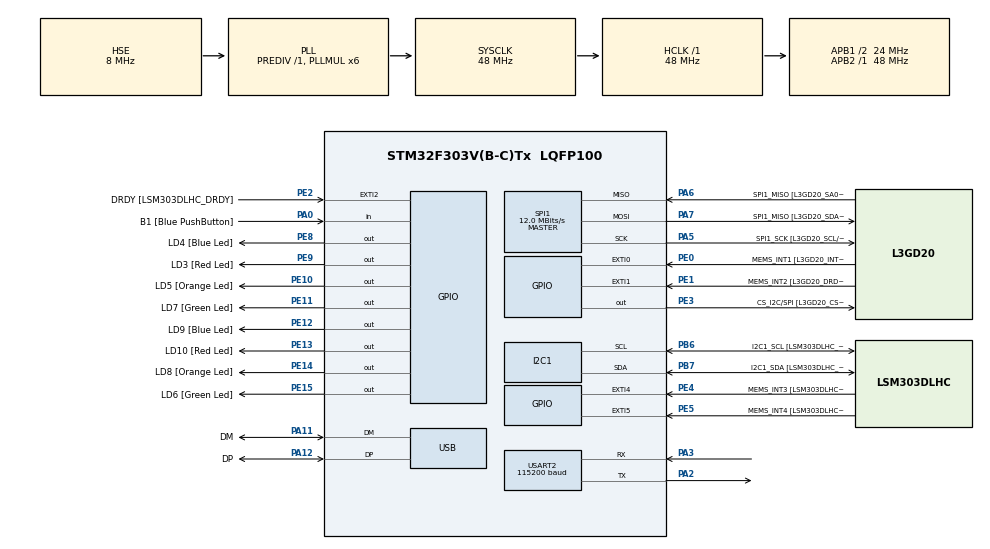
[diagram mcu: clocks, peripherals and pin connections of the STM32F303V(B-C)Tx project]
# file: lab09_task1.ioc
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I2C1.Timing=0x00201D2B
I2C1.Timing-I2C=0x2000090E
Mcu.Family=STM32F3
Mcu.Name=STM32F303V(B-C)Tx
Mcu.Package=LQFP100
NVIC.PriorityGroup=NVIC_PRIORITYGROUP_0
PA0.GPIO_Label=B1 [Blue PushButton]
PA0.Signal=GPIO_Input
PA11.GPIO_Label=DM
PA11.Mode=Device
PA11.Signal=USB_DM
PA12.GPIO_Label=DP
PA12.Mode=Device
PA12.Signal=USB_DP
PA13.GPIO_Label=SWDIO
PA13.Mode=Serial_Wire
PA13.Signal=SYS_JTMS-SWDIO
PA14.GPIO_Label=SWCLK
PA14.Mode=Serial_Wire
PA14.Signal=SYS_JTCK-SWCLK
PA2.Mode=Asynchronous
PA2.Signal=USART2_TX
PA3.Mode=Asynchronous
PA3.Signal=USART2_RX
PA5.GPIO_Label=SPI1_SCK [L3GD20_SCL/SPC]
PA5.Mode=Full_Duplex_Master
PA5.Signal=SPI1_SCK
PA6.GPIO_Label=SPI1_MISO [L3GD20_SA0/SDO]
PA6.Mode=Full_Duplex_Master
PA6.Signal=SPI1_MISO
PA7.GPIO_Label=SPI1_MISO [L3GD20_SDA/SDI/SDO]
PA7.Mode=Full_Duplex_Master
PA7.Signal=SPI1_MOSI
PB3.GPIO_Label=SWO
PB3.Signal=SYS_JTDO-TRACESWO
PB6.GPIO_Label=I2C1_SCL [LSM303DLHC_SCL]
PB6.GPIO_Pu=GPIO_PULLUP
PB6.Mode=I2C
PB6.Signal=I2C1_SCL
PB7.GPIO_Label=I2C1_SDA [LSM303DLHC_SDA]
PB7.GPIO_Pu=GPIO_PULLUP
PB7.Mode=I2C
PB7.Signal=I2C1_SDA
PC14-OSC32_IN.GPIO_Label=OSC32_IN
PC14-OSC32_IN.Signal=RCC_OSC32_IN
PC15-OSC32_OUT.GPIO_Label=OSC32_OUT
PC15-OSC32_OUT.Signal=RCC_OSC32_OUT
PE0.GPIO_Label=MEMS_INT1 [L3GD20_INT1]
PE0.GPIO_ModeDefaultEXTI=GPIO_MODE_EVT_RISING
PE0.Signal=GPXTI0
PE1.GPIO_Label=MEMS_INT2 [L3GD20_DRDY/INT2]
PE1.GPIO_ModeDefaultEXTI=GPIO_MODE_EVT_RISING
PE1.Signal=GPXTI1
PE10.GPIO_Label=LD5 [Orange Led]
PE10.Signal=GPIO_Output
PE11.GPIO_Label=LD7 [Green Led]
PE11.Signal=GPIO_Output
PE12.GPIO_Label=LD9 [Blue Led]
PE12.Signal=GPIO_Output
PE13.GPIO_Label=LD10 [Red Led]
PE13.Signal=GPIO_Output
PE14.GPIO_Label=LD8 [Orange Led]
PE14.Signal=GPIO_Output
PE15.GPIO_Label=LD6 [Green Led]
PE15.Signal=GPIO_Output
PE2.GPIO_Label=DRDY [LSM303DLHC_DRDY]
PE2.GPIO_ModeDefaultEXTI=GPIO_MODE_EVT_RISING
PE2.Signal=GPXTI2
PE3.GPIO_Label=CS_I2C/SPI [L3GD20_CS_I2C/SPI]
PE3.Signal=GPIO_Output
PE4.GPIO_Label=MEMS_INT3 [LSM303DLHC_INT1]
PE4.GPIO_ModeDefaultEXTI=GPIO_MODE_EVT_RISING
PE4.Signal=GPXTI4
PE5.GPIO_Label=MEMS_INT4 [LSM303DLHC_INT2]
PE5.GPIO_ModeDefaultEXTI=GPIO_MODE_EVT_RISING
PE5.Signal=GPXTI5
PE8.GPIO_Label=LD4 [Blue Led]
PE8.Signal=GPIO_Output
PE9.GPIO_Label=LD3 [Red Led]
PE9.Signal=GPIO_Output
PF0-OSC_IN.GPIO_Label=OSC_IN
PF0-OSC_IN.Mode=HSE-External-Clock-Source
PF0-OSC_IN.Signal=RCC_OSC_IN
PF1-OSC_OUT.GPIO_Label=OSC_OUT
PF1-OSC_OUT.Signal=RCC_OSC_OUT
ProjectManager.HeapSize=0x200
ProjectManager.StackSize=0x400
ProjectManager.TargetToolchain=CMake
RCC.AHBFreq_Value=48000000
RCC.APB1CLKDivider=RCC_HCLK_DIV2
RCC.APB1Freq_Value=24000000
RCC.APB1TimFreq_Value=48000000
RCC.APB2Freq_Value=48000000
RCC.APB2TimFreq_Value=48000000
RCC.CortexFreq_Value=48000000
RCC.HCLKFreq_Value=48000000
RCC.HSE_VALUE=8000000
RCC.HSI_VALUE=8000000
RCC.LSE_VALUE=32768
RCC.PLLMUL=RCC_PLL_MUL6
RCC.SYSCLKFreq_VALUE=48000000
RCC.SYSCLKSourceVirtual=RCC_SYSCLKSOURCE_PLLCLK
RCC.USBFreq_Value=48000000
SPI1.BaudRatePrescaler=SPI_BAUDRATEPRESCALER_4
SPI1.BaudRatePrescaler-Full_Duplex_Master=SPI_BAUDRATEPRESCALER_2
SPI1.CalculateBaudRate=12.0 MBits/s
SPI1.CalculateBaudRate-Full_Duplex_Master=24.0 MBits/s
SPI1.Direction=SPI_DIRECTION_2LINES
SPI1.Mode=SPI_MODE_MASTER
SPI1.Mode-Full_Duplex_Master=SPI_MODE_MASTER
SPI1.VirtualType=VM_MASTER
USART2.BaudRate=115200
USART2.VirtualMode-Asynchronous=VM_ASYNC
board=STM32F3DISCOVERY

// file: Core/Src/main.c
/* USER CODE BEGIN Header */
/**
  ******************************************************************************
  * @file           : main.c
  * @brief          : Main program body
  ******************************************************************************
  * @attention
  *
  * Copyright (c) 2026 STMicroelectronics.
  * All rights reserved.
  *
  * This software is licensed under terms that can be found in the LICENSE file
  * in the root directory of this software component.
  * If no LICENSE file comes with this software, it is provided AS-IS.
  *
  ******************************************************************************
  */
/* USER CODE END Header */
#include "main.h"

/* USER CODE BEGIN Includes */
#include <stdio.h>
#include <stdarg.h>
#include <string.h>
/* USER CODE END Includes */

/* USER CODE BEGIN PD */
/* LSM303AGR accelerometer: 7-bit address 0x19 -> 0x32 (write) / 0x33 (read) */
#define LSM_ACC_ADDR    0x33
#define WHO_AM_I_A      0x0F    // accelerometer ID register
#define ACC_ID          0x33    // expected value

/* LSM303AGR magnetometer: 7-bit address 0x1E -> 0x3C (write) / 0x3D (read) */
#define LSM_MAG_ADDR    0x3D
#define WHO_AM_I_M      0x4F    // magnetometer ID register
#define MAG_ID          0x40    // expected value

#define I2C_TIMEOUT_MS  100     // give up instead of hanging forever
/* USER CODE END PD */

I2C_HandleTypeDef hi2c1;

SPI_HandleTypeDef hspi1;

UART_HandleTypeDef huart2;

PCD_HandleTypeDef hpcd_USB_FS;

void SystemClock_Config(void);
static void MX_GPIO_Init(void);
static void MX_I2C1_Init(void);
static void MX_SPI1_Init(void);
static void MX_USART2_UART_Init(void);
static void MX_USB_PCD_Init(void);

/* USER CODE BEGIN 0 */

/* ---------------- UART print ---------------- */
void myPrintf(const char *fmt, ...)
{
    char buffer[100];
    va_list args;
    va_start(args, fmt);
    vsnprintf(buffer, sizeof(buffer), fmt, args);
    va_end(args);
    HAL_UART_Transmit(&huart2, (uint8_t *)buffer, strlen(buffer), HAL_MAX_DELAY);
}

/* ---------------- Read one register over I2C1 ---------------- */
HAL_StatusTypeDef i2c_read_reg(uint16_t dev_addr, uint8_t reg, uint8_t *value)
{
    /* START, address+W, reg, REPEATED START, address+R, read 1 byte, STOP */
    return HAL_I2C_Mem_Read(&hi2c1, dev_addr, reg, I2C_MEMADD_SIZE_8BIT,
                            value, 1, I2C_TIMEOUT_MS);
}

/* ---------------- List every device that ACKs on I2C1 ---------------- */
void i2c_scan(void)
{
    myPrintf("Scanning I2C1...\r\n");
    for (uint16_t addr = 1; addr < 128; addr++)
    {
        if (HAL_I2C_IsDeviceReady(&hi2c1, addr << 1, 2, 10) == HAL_OK)
        {
            myPrintf("  device at 0x%02X\r\n", addr);
        }
    }
    myPrintf("Scan done\r\n\r\n");
}

/* ---------------- Read an ID register and compare ---------------- */
void check_id(const char *name, uint16_t dev_addr, uint8_t reg, uint8_t expected)
{
    uint8_t id = 0;

    if (i2c_read_reg(dev_addr, reg, &id) != HAL_OK)
    {
        myPrintf("%s: no response (no ACK)\r\n", name);
        return;
    }

    myPrintf("%s WHO_AM_I = 0x%02X -> %s\r\n",
             name, id, (id == expected) ? "OK" : "MISMATCH");
}

/* USER CODE END 0 */

int main(void)
{

  /* MCU Configuration--------------------------------------------------------*/

  /* Reset of all peripherals, Initializes the Flash interface and the Systick. */
  HAL_Init();

  /* Configure the system clock */
  SystemClock_Config();

  /* Initialize all configured peripherals */
  MX_GPIO_Init();
  MX_I2C1_Init();
  MX_SPI1_Init();
  MX_USART2_UART_Init();
  MX_USB_PCD_Init();
  /* USER CODE BEGIN 2 */
  HAL_Delay(10);                                  // let the sensor finish booting
  myPrintf("\r\nLab 9 Task 1: LSM303AGR WHO_AM_I check\r\n");
  i2c_scan();                                     // expect 0x19 and 0x1E
  /* USER CODE END 2 */

  /* Infinite loop */
  while (1)
  {

    /* USER CODE BEGIN 3 */
    check_id("LSM303AGR accel", LSM_ACC_ADDR, WHO_AM_I_A, ACC_ID);
    //check_id("LSM303AGR mag  ", LSM_MAG_ADDR, WHO_AM_I_M, MAG_ID);
    myPrintf("\r\n");
    HAL_Delay(1000);                              // one check per second
  }
  /* USER CODE END 3 */
}

void SystemClock_Config(void)
{
  RCC_OscInitTypeDef RCC_OscInitStruct = {0};
  RCC_ClkInitTypeDef RCC_ClkInitStruct = {0};
  RCC_PeriphCLKInitTypeDef PeriphClkInit = {0};

  /** Initializes the RCC Oscillators according to the specified parameters
  * in the RCC_OscInitTypeDef structure.
  */
  RCC_OscInitStruct.OscillatorType = RCC_OSCILLATORTYPE_HSI|RCC_OSCILLATORTYPE_HSE;
  RCC_OscInitStruct.HSEState = RCC_HSE_BYPASS;
  RCC_OscInitStruct.HSEPredivValue = RCC_HSE_PREDIV_DIV1;
  RCC_OscInitStruct.HSIState = RCC_HSI_ON;
  RCC_OscInitStruct.HSICalibrationValue = RCC_HSICALIBRATION_DEFAULT;
  RCC_OscInitStruct.PLL.PLLState = RCC_PLL_ON;
  RCC_OscInitStruct.PLL.PLLSource = RCC_PLLSOURCE_HSE;
  RCC_OscInitStruct.PLL.PLLMUL = RCC_PLL_MUL6;
  if (HAL_RCC_OscConfig(&RCC_OscInitStruct) != HAL_OK)
  {
    Error_Handler();
  }

  /** Initializes the CPU, AHB and APB buses clocks
  */
  RCC_ClkInitStruct.ClockType = RCC_CLOCKTYPE_HCLK|RCC_CLOCKTYPE_SYSCLK
                              |RCC_CLOCKTYPE_PCLK1|RCC_CLOCKTYPE_PCLK2;
  RCC_ClkInitStruct.SYSCLKSource = RCC_SYSCLKSOURCE_PLLCLK;
  RCC_ClkInitStruct.AHBCLKDivider = RCC_SYSCLK_DIV1;
  RCC_ClkInitStruct.APB1CLKDivider = RCC_HCLK_DIV2;
  RCC_ClkInitStruct.APB2CLKDivider = RCC_HCLK_DIV1;

  if (HAL_RCC_ClockConfig(&RCC_ClkInitStruct, FLASH_LATENCY_1) != HAL_OK)
  {
    Error_Handler();
  }
  PeriphClkInit.PeriphClockSelection = RCC_PERIPHCLK_USB|RCC_PERIPHCLK_USART2
                              |RCC_PERIPHCLK_I2C1;
  PeriphClkInit.Usart2ClockSelection = RCC_USART2CLKSOURCE_PCLK1;
  PeriphClkInit.I2c1ClockSelection = RCC_I2C1CLKSOURCE_HSI;
  PeriphClkInit.USBClockSelection = RCC_USBCLKSOURCE_PLL;
  if (HAL_RCCEx_PeriphCLKConfig(&PeriphClkInit) != HAL_OK)
  {
    Error_Handler();
  }
}

static void MX_I2C1_Init(void)
{

  hi2c1.Instance = I2C1;
  hi2c1.Init.Timing = 0x00201D2B;
  hi2c1.Init.OwnAddress1 = 0;
  hi2c1.Init.AddressingMode = I2C_ADDRESSINGMODE_7BIT;
  hi2c1.Init.DualAddressMode = I2C_DUALADDRESS_DISABLE;
  hi2c1.Init.OwnAddress2 = 0;
  hi2c1.Init.OwnAddress2Masks = I2C_OA2_NOMASK;
  hi2c1.Init.GeneralCallMode = I2C_GENERALCALL_DISABLE;
  hi2c1.Init.NoStretchMode = I2C_NOSTRETCH_DISABLE;
  if (HAL_I2C_Init(&hi2c1) != HAL_OK)
  {
    Error_Handler();
  }

  /** Configure Analogue filter
  */
  if (HAL_I2CEx_ConfigAnalogFilter(&hi2c1, I2C_ANALOGFILTER_ENABLE) != HAL_OK)
  {
    Error_Handler();
  }

  /** Configure Digital filter
  */
  if (HAL_I2CEx_ConfigDigitalFilter(&hi2c1, 0) != HAL_OK)
  {
    Error_Handler();
  }

}

static void MX_SPI1_Init(void)
{

  /* SPI1 parameter configuration*/
  hspi1.Instance = SPI1;
  hspi1.Init.Mode = SPI_MODE_MASTER;
  hspi1.Init.Direction = SPI_DIRECTION_2LINES;
  hspi1.Init.DataSize = SPI_DATASIZE_4BIT;
  hspi1.Init.CLKPolarity = SPI_POLARITY_LOW;
  hspi1.Init.CLKPhase = SPI_PHASE_1EDGE;
  hspi1.Init.NSS = SPI_NSS_SOFT;
  hspi1.Init.BaudRatePrescaler = SPI_BAUDRATEPRESCALER_4;
  hspi1.Init.FirstBit = SPI_FIRSTBIT_MSB;
  hspi1.Init.TIMode = SPI_TIMODE_DISABLE;
  hspi1.Init.CRCCalculation = SPI_CRCCALCULATION_DISABLE;
  hspi1.Init.CRCPolynomial = 7;
  hspi1.Init.CRCLength = SPI_CRC_LENGTH_DATASIZE;
  hspi1.Init.NSSPMode = SPI_NSS_PULSE_ENABLE;
  if (HAL_SPI_Init(&hspi1) != HAL_OK)
  {
    Error_Handler();
  }

}

static void MX_USART2_UART_Init(void)
{

  huart2.Instance = USART2;
  huart2.Init.BaudRate = 115200;
  huart2.Init.WordLength = UART_WORDLENGTH_8B;
  huart2.Init.StopBits = UART_STOPBITS_1;
  huart2.Init.Parity = UART_PARITY_NONE;
  huart2.Init.Mode = UART_MODE_TX_RX;
  huart2.Init.HwFlowCtl = UART_HWCONTROL_NONE;
  huart2.Init.OverSampling = UART_OVERSAMPLING_16;
  huart2.Init.OneBitSampling = UART_ONE_BIT_SAMPLE_DISABLE;
  huart2.AdvancedInit.AdvFeatureInit = UART_ADVFEATURE_NO_INIT;
  if (HAL_UART_Init(&huart2) != HAL_OK)
  {
    Error_Handler();
  }

}

static void MX_USB_PCD_Init(void)
{

  hpcd_USB_FS.Instance = USB;
  hpcd_USB_FS.Init.dev_endpoints = 8;
  hpcd_USB_FS.Init.speed = PCD_SPEED_FULL;
  hpcd_USB_FS.Init.phy_itface = PCD_PHY_EMBEDDED;
  hpcd_USB_FS.Init.low_power_enable = DISABLE;
  hpcd_USB_FS.Init.battery_charging_enable = DISABLE;
  if (HAL_PCD_Init(&hpcd_USB_FS) != HAL_OK)
  {
    Error_Handler();
  }

}

static void MX_GPIO_Init(void)
{
  GPIO_InitTypeDef GPIO_InitStruct = {0};

  /* GPIO Ports Clock Enable */
  __HAL_RCC_GPIOE_CLK_ENABLE();
  __HAL_RCC_GPIOC_CLK_ENABLE();
  __HAL_RCC_GPIOF_CLK_ENABLE();
  __HAL_RCC_GPIOA_CLK_ENABLE();
  __HAL_RCC_GPIOB_CLK_ENABLE();

  /*Configure GPIO pin Output Level */
  HAL_GPIO_WritePin(GPIOE, CS_I2C_SPI_Pin|LD4_Pin|LD3_Pin|LD5_Pin
                          |LD7_Pin|LD9_Pin|LD10_Pin|LD8_Pin
                          |LD6_Pin, GPIO_PIN_RESET);

  /*Configure GPIO pins : DRDY_Pin MEMS_INT3_Pin MEMS_INT4_Pin MEMS_INT1_Pin
                           MEMS_INT2_Pin */
  GPIO_InitStruct.Pin = DRDY_Pin|MEMS_INT3_Pin|MEMS_INT4_Pin|MEMS_INT1_Pin
                          |MEMS_INT2_Pin;
  GPIO_InitStruct.Mode = GPIO_MODE_EVT_RISING;
  GPIO_InitStruct.Pull = GPIO_NOPULL;
  HAL_GPIO_Init(GPIOE, &GPIO_InitStruct);

  /*Configure GPIO pins : CS_I2C_SPI_Pin LD4_Pin LD3_Pin LD5_Pin
                           LD7_Pin LD9_Pin LD10_Pin LD8_Pin
                           LD6_Pin */
  GPIO_InitStruct.Pin = CS_I2C_SPI_Pin|LD4_Pin|LD3_Pin|LD5_Pin
                          |LD7_Pin|LD9_Pin|LD10_Pin|LD8_Pin
                          |LD6_Pin;
  GPIO_InitStruct.Mode = GPIO_MODE_OUTPUT_PP;
  GPIO_InitStruct.Pull = GPIO_NOPULL;
  GPIO_InitStruct.Speed = GPIO_SPEED_FREQ_LOW;
  HAL_GPIO_Init(GPIOE, &GPIO_InitStruct);

  /*Configure GPIO pin : B1_Pin */
  GPIO_InitStruct.Pin = B1_Pin;
  GPIO_InitStruct.Mode = GPIO_MODE_INPUT;
  GPIO_InitStruct.Pull = GPIO_NOPULL;
  HAL_GPIO_Init(B1_GPIO_Port, &GPIO_InitStruct);

}

void Error_Handler(void)
{
  __disable_irq();
  while (1)
  {
  }
}
